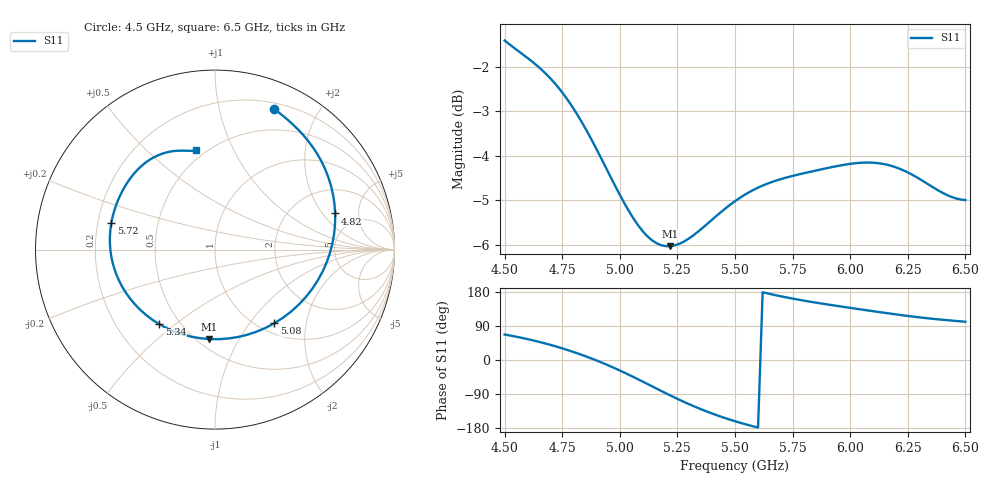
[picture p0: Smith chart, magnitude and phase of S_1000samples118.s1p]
! TOUCHSTONE file generated by CST MICROWAVE STUDIO
! Date and time: Thu Oct 27 01:32:05 2022
! Project name: L.cst
! Parameters = {Di=1.27; Epsilon_r=1.56; InnerDiameter=1.27; Length=2; Lf=10; Lg=60; OuterConductorThickness=0.2921; OuterDiameter=3.6; Wf=3; Wp=41.2; de=1.5; df=6.8; g=0.8; gx=4.59228; gy=0.908695; h=2.34; hf=1.524; px=14.1309; py=10.2811; w=9.7; wx=9.53863; wy=9.37236}
! Header version: 2018
! Port assignment regex: !\s*Touchstone port\s*([0-9]+)\s*=\s*(CST MWS port|CST DS port)\s*([0-9]+|Zmin|Zmax)\s*\(\"(.*)\"\)(\s*mode\s*([0-9]+))?.*
! Touchstone port assignment:
! Touchstone port 1 = CST MWS port 1 ("")
# GHz S DB R 50
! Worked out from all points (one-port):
!   101 points, 4.5 GHz to 6.5 GHz, reference 50 ohm
!   lowest |S11| = -6.0 dB at 5.22 GHz (marker M1), VSWR 3.00, Z = 28.5 - j37.9 ohm
!   |S11| at or under -10 dB: nowhere
!   S11 on the Smith chart (normalised r, x): 4.5 GHz: 0.26, +1.47; 4.82 GHz: 3.41, +2.69; 5.08 GHz: 1.17, -1.33; 5.34 GHz: 0.39, -0.44; 5.72 GHz: 0.26, +0.12; 6.5 GHz: 0.45, +0.72
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4.5  -1.40 67.3
4.58  -1.72 57.7
4.64  -1.97 49.3
4.7  -2.26 39.7
4.76  -2.64 28.9
4.82  -3.11 16.7
4.86  -3.47 7.9
4.9  -3.86 -1.5
4.94  -4.27 -11.5
5  -4.87 -27.7
5.04  -5.25 -39.2
5.08  -5.56 -51.1
5.14  -5.90 -69.5
5.18  -6.01 -81.7
5.22  -6.03 -93.8
5.26  -5.97 -105.4
5.34  -5.70 -126.8
5.42  -5.35 -145.5
5.5  -5.02 -161.5
5.6  -4.71 -178.3
5.72  -4.49 165.6
5.76  -4.44 160.9
5.88  -4.30 148.6
6  -4.18 137.6
6.14  -4.18 125.3
6.26  -4.40 115.5
6.38  -4.77 107.4
6.5  -4.99 101.0
